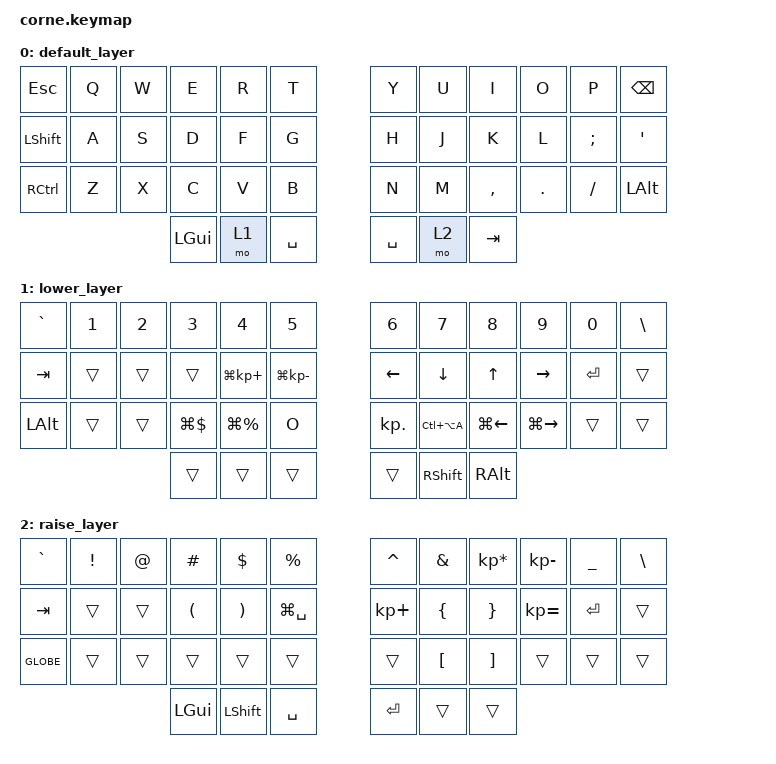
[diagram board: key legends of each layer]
/*
 * Copyright (c) 2020 The ZMK Contributors
 *
 * SPDX-License-Identifier: MIT
 */

#include <behaviors.dtsi>
#include <dt-bindings/zmk/keys.h>

/ {
    keymap {
        compatible = "zmk,keymap";

        default_layer {
            // -----------------------------------------------------------------------------------------
            // |  TAB |  Q  |  W  |  E  |  R  |  T  |   |  Y  |  U   |  I  |  O  |  P  | BSPC |
            // | CTRL |  A  |  S  |  D  |  F  |  G  |   |  H  |  J   |  K  |  L  |  ;  |  '   |
            // | SHFT |  Z  |  X  |  C  |  V  |  B  |   |  N  |  M   |  ,  |  .  |  /  | ESC  |
            //                    | GUI | LWR | SPC |   | ENT | RSE  | ALT |

            bindings = <
&kp ESC         &kp Q  &kp W  &kp E     &kp R  &kp T        &kp Y      &kp U  &kp I      &kp O    &kp P     &kp BSPC
&kp LEFT_SHIFT  &kp A  &kp S  &kp D     &kp F  &kp G        &kp H      &kp J  &kp K      &kp L    &kp SEMI  &kp SQT
&kp RCTRL       &kp Z  &kp X  &kp C     &kp V  &kp B        &kp N      &kp M  &kp COMMA  &kp DOT  &kp FSLH  &kp LEFT_ALT
                              &kp LGUI  &mo 1  &kp SPACE    &kp SPACE  &mo 2  &kp TAB
            >;
        };

        lower_layer {
            // -----------------------------------------------------------------------------------------
            // |  TAB |  1  |  2  |  3  |  4  |  5  |   |  6  |  7  |  8  |  9  |  0  | BSPC |
            // | BTCLR| BT1 | BT2 | BT3 | BT4 | BT5 |   | LFT | DWN |  UP | RGT |     |      |
            // | SHFT |     |     |     |     |     |   |     |     |     |     |     |      |
            //                    | GUI |     | SPC |   | ENT |     | ALT |

            bindings = <
&kp GRAVE     &kp NUMBER_1  &kp NUMBER_2  &kp NUMBER_3  &kp NUMBER_4     &kp N5              &kp NUMBER_6  &kp N7           &kp NUMBER_8  &kp NUMBER_9   &kp NUMBER_0  &kp BACKSLASH
&kp TAB       &trans        &trans        &trans        &kp LG(KP_PLUS)  &kp LG(KP_MINUS)    &kp LEFT      &kp DOWN         &kp UP        &kp RIGHT      &kp ENTER     &trans
&kp LEFT_ALT  &trans        &trans        &kp LG(DLLR)  &kp LG(PRCNT)    &kp O               &kp KP_DOT    &kp LC(LA(A))    &kp LG(LEFT)  &kp LG(RIGHT)  &trans        &trans
                                          &trans        &trans           &trans              &trans        &kp RIGHT_SHIFT  &kp RALT
            >;
        };

        raise_layer {
            // -----------------------------------------------------------------------------------------
            // |  TAB |  !  |  @  |  #  |  $  |  %  |   |  ^  |  &  |  *  |  (  |  )  | BSPC |
            // | CTRL |     |     |     |     |     |   |  -  |  =  |  [  |  ]  |  \  |  `   |
            // | SHFT |     |     |     |     |     |   |  _  |  +  |  {  |  }  | "|" |  ~   |
            //                    | GUI |     | SPC |   | ENT |     | ALT |

            bindings = <
&kp GRAVE  &kp EXCL  &kp AT  &kp HASH              &kp DLLR               &kp PRCNT        &kp CARET    &kp AMPS          &kp KP_ASTERISK    &kp KP_MINUS  &kp UNDER  &kp BACKSLASH
&kp TAB    &trans    &trans  &kp LEFT_PARENTHESIS  &kp RIGHT_PARENTHESIS  &kp LG(SPACE)    &kp KP_PLUS  &kp LBRC          &kp RIGHT_BRACE    &kp KP_EQUAL  &kp ENTER  &trans
&kp GLOBE  &trans    &trans  &trans                &trans                 &trans           &trans       &kp LEFT_BRACKET  &kp RIGHT_BRACKET  &trans        &trans     &trans
                             &kp LGUI              &kp LEFT_SHIFT         &kp SPACE        &kp RET      &trans            &trans
            >;
        };
    };
};
